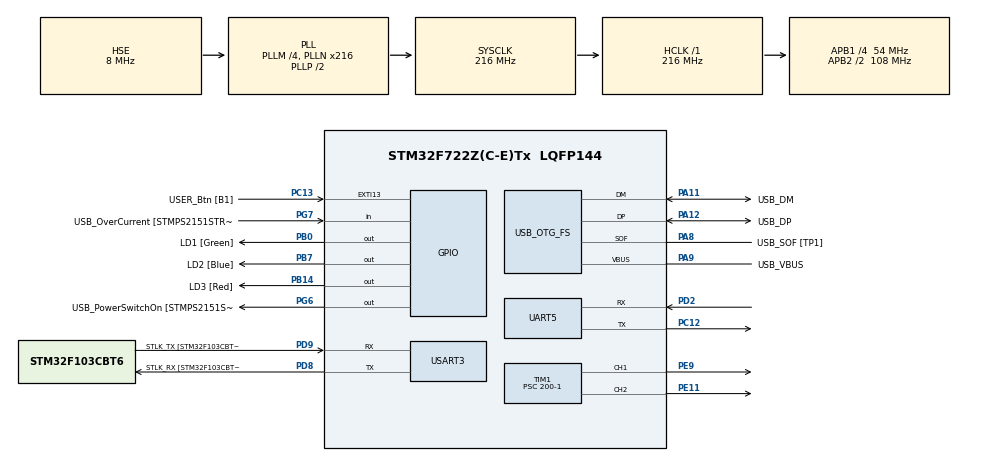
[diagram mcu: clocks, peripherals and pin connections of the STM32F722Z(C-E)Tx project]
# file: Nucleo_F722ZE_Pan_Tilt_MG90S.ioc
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CORTEX_M7.CPU_DCache=Enabled
CORTEX_M7.CPU_ICache=Enabled
Dma.Request0=TIM1_CH1
Dma.Request1=TIM1_CH2
Dma.Request2=UART5_TX
Dma.TIM1_CH1.0.Direction=DMA_PERIPH_TO_MEMORY
Dma.TIM1_CH1.0.FIFOMode=DMA_FIFOMODE_DISABLE
Dma.TIM1_CH1.0.Instance=DMA2_Stream1
Dma.TIM1_CH1.0.MemDataAlignment=DMA_MDATAALIGN_HALFWORD
Dma.TIM1_CH1.0.MemInc=DMA_MINC_ENABLE
Dma.TIM1_CH1.0.Mode=DMA_NORMAL
Dma.TIM1_CH1.0.PeriphDataAlignment=DMA_PDATAALIGN_HALFWORD
Dma.TIM1_CH1.0.PeriphInc=DMA_PINC_DISABLE
Dma.TIM1_CH1.0.Priority=DMA_PRIORITY_LOW
Dma.TIM1_CH2.1.Direction=DMA_PERIPH_TO_MEMORY
Dma.TIM1_CH2.1.FIFOMode=DMA_FIFOMODE_DISABLE
Dma.TIM1_CH2.1.Instance=DMA2_Stream2
Dma.TIM1_CH2.1.MemDataAlignment=DMA_MDATAALIGN_HALFWORD
Dma.TIM1_CH2.1.MemInc=DMA_MINC_ENABLE
Dma.TIM1_CH2.1.Mode=DMA_NORMAL
Dma.TIM1_CH2.1.PeriphDataAlignment=DMA_PDATAALIGN_HALFWORD
Dma.TIM1_CH2.1.PeriphInc=DMA_PINC_DISABLE
Dma.TIM1_CH2.1.Priority=DMA_PRIORITY_LOW
Dma.UART5_TX.2.Direction=DMA_MEMORY_TO_PERIPH
Dma.UART5_TX.2.FIFOMode=DMA_FIFOMODE_DISABLE
Dma.UART5_TX.2.Instance=DMA1_Stream7
Dma.UART5_TX.2.MemDataAlignment=DMA_MDATAALIGN_BYTE
Dma.UART5_TX.2.MemInc=DMA_MINC_ENABLE
Dma.UART5_TX.2.Mode=DMA_NORMAL
Dma.UART5_TX.2.PeriphDataAlignment=DMA_PDATAALIGN_BYTE
Dma.UART5_TX.2.PeriphInc=DMA_PINC_DISABLE
Dma.UART5_TX.2.Priority=DMA_PRIORITY_LOW
Mcu.Family=STM32F7
Mcu.Name=STM32F722Z(C-E)Tx
Mcu.Package=LQFP144
NVIC.DMA1_Stream7_IRQn=true\:0\:0\:false\:false\:true\:false\:true\:true
NVIC.DMA2_Stream1_IRQn=true\:0\:0\:false\:false\:true\:false\:true\:true
NVIC.DMA2_Stream2_IRQn=true\:0\:0\:false\:false\:true\:false\:true\:true
NVIC.PriorityGroup=NVIC_PRIORITYGROUP_4
NVIC.TIM6_DAC_IRQn=true\:0\:0\:false\:false\:true\:true\:true\:true
NVIC.UART5_IRQn=true\:0\:0\:false\:false\:true\:true\:true\:true
PA10.GPIO_Label=USB_ID
PA10.Signal=USB_OTG_FS_ID
PA11.GPIO_Label=USB_DM
PA11.Mode=Device_Only
PA11.Signal=USB_OTG_FS_DM
PA12.GPIO_Label=USB_DP
PA12.Mode=Device_Only
PA12.Signal=USB_OTG_FS_DP
PA13.GPIO_Label=TMS
PA13.Mode=Serial_Wire
PA13.Signal=SYS_JTMS-SWDIO
PA14.GPIO_Label=TCK
PA14.Mode=Serial_Wire
PA14.Signal=SYS_JTCK-SWCLK
PA8.GPIO_Label=USB_SOF [TP1]
PA8.Mode=Activate_SOF_FS
PA8.Signal=USB_OTG_FS_SOF
PA9.GPIO_Label=USB_VBUS
PA9.Mode=Activate_VBUS
PA9.Signal=USB_OTG_FS_VBUS
PB0.GPIO_Label=LD1 [Green]
PB0.Signal=GPIO_Output
PB14.GPIO_Label=LD3 [Red]
PB14.Signal=GPIO_Output
PB3.GPIO_Label=SWO
PB3.Signal=SYS_JTDO-SWO
PB7.GPIO_Label=LD2 [Blue]
PB7.Signal=GPIO_Output
PC12.Mode=Asynchronous
PC12.Signal=UART5_TX
PC13.GPIO_Label=USER_Btn [B1]
PC13.Signal=GPXTI13
PC14-OSC32_IN.Mode=LSE-External-Oscillator
PC14-OSC32_IN.Signal=RCC_OSC32_IN
PC15-OSC32_OUT.Mode=LSE-External-Oscillator
PC15-OSC32_OUT.Signal=RCC_OSC32_OUT
PD2.Mode=Asynchronous
PD2.Signal=UART5_RX
PD8.GPIO_Label=STLK_RX [STM32F103CBT6_PA3]
PD8.Mode=Asynchronous
PD8.Signal=USART3_TX
PD9.GPIO_Label=STLK_TX [STM32F103CBT6_PA2]
PD9.Mode=Asynchronous
PD9.Signal=USART3_RX
PE11.Signal=S_TIM1_CH2
PE9.Signal=S_TIM1_CH1
PG6.GPIO_Label=USB_PowerSwitchOn [STMPS2151STR_EN]
PG6.Signal=GPIO_Output
PG7.GPIO_Label=USB_OverCurrent [STMPS2151STR_FAULT]
PG7.Signal=GPIO_Input
PH0-OSC_IN.GPIO_Label=MCO
PH0-OSC_IN.Mode=HSE-External-Oscillator
PH0-OSC_IN.Signal=RCC_OSC_IN
PH1-OSC_OUT.Mode=HSE-External-Oscillator
PH1-OSC_OUT.Signal=RCC_OSC_OUT
ProjectManager.HeapSize=0x200
ProjectManager.StackSize=0x400
ProjectManager.TargetToolchain=STM32CubeIDE
RCC.48MHZClocksFreq_Value=24000000
RCC.AHBFreq_Value=216000000
RCC.APB1CLKDivider=RCC_HCLK_DIV4
RCC.APB1Freq_Value=54000000
RCC.APB1TimFreq_Value=108000000
RCC.APB2CLKDivider=RCC_HCLK_DIV2
RCC.APB2Freq_Value=108000000
RCC.APB2TimFreq_Value=216000000
RCC.CortexFreq_Value=216000000
RCC.HCLKFreq_Value=216000000
RCC.HSE_VALUE=8000000
RCC.HSI_VALUE=16000000
RCC.PLLM=4
RCC.PLLMUL=RCC_PLL_MUL9
RCC.PLLN=216
RCC.PLLQ=9
RCC.PRESCALERUSB=RCC_USBCLKSOURCE_PLL_DIV1_5
RCC.SYSCLKFreq_VALUE=216000000
RCC.SYSCLKSource=RCC_SYSCLKSOURCE_PLLCLK
RCC.SYSCLKSourceVirtual=RCC_SYSCLKSOURCE_PLLCLK
RCC.USBFreq_Value=48000000
RCC.VCOOutputFreq_Value=432000000
SH.S_TIM1_CH1.0=TIM1_CH1,PWM Generation1 CH1
SH.S_TIM1_CH2.0=TIM1_CH2,PWM Generation2 CH2
TIM1.Channel-PWM\ Generation1\ CH1=TIM_CHANNEL_1
TIM1.Channel-PWM\ Generation2\ CH2=TIM_CHANNEL_2
TIM1.Period=21600-1
TIM1.Prescaler=200-1
TIM6.Period=100-1
TIM6.Prescaler=10800-1
USART3.VirtualMode-Asynchronous=VM_ASYNC
USB_OTG_FS.VirtualMode=Device_Only
VP_TIM1_VS_ClockSourceINT.Mode=Internal
VP_TIM6_VS_ClockSourceINT.Mode=Enable_Timer
board=NUCLEO-F722ZE

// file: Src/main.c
/* USER CODE BEGIN Header */
/**
  ******************************************************************************
  * @file           : main.c
  * @brief          : Main program body
  ******************************************************************************
  * @attention
  *
  * Copyright (c) 2024 STMicroelectronics.
  * All rights reserved.
  *
  * This software is licensed under terms that can be found in the LICENSE file
  * in the root directory of this software component.
  * If no LICENSE file comes with this software, it is provided AS-IS.
  *
  ******************************************************************************
  */
/* USER CODE END Header */
#include "main.h"

TIM_HandleTypeDef htim1;
TIM_HandleTypeDef htim6;
DMA_HandleTypeDef hdma_tim1_ch1;
DMA_HandleTypeDef hdma_tim1_ch2;

UART_HandleTypeDef huart5;
UART_HandleTypeDef huart3;
DMA_HandleTypeDef hdma_uart5_tx;

PCD_HandleTypeDef hpcd_USB_OTG_FS;

void SystemClock_Config(void);
static void MX_GPIO_Init(void);
static void MX_DMA_Init(void);
static void MX_USB_OTG_FS_PCD_Init(void);
static void MX_TIM1_Init(void);
static void MX_TIM6_Init(void);
static void MX_USART3_UART_Init(void);
static void MX_UART5_Init(void);

/* USER CODE BEGIN 0 */
uint8_t counter_tim = 0;
uint8_t index_pos_pan = 0, index_pos_tilt = 0;

HAL_StatusTypeDef feedback = HAL_ERROR;

servo_t servo_pan, servo_tilt;

char message_pos_pan_tilt[40] = "\0";

uint32_t log_uart_nbr_bytes_to_be_clean = 0;
/* USER CODE END 0 */

int main(void)
{
/* Enable the CPU Cache */

  /* Enable I-Cache---------------------------------------------------------*/
 SCB_EnableICache();

  /* Enable D-Cache---------------------------------------------------------*/
  SCB_EnableDCache();

  /* MCU Configuration--------------------------------------------------------*/

  /* Reset of all peripherals, Initializes the Flash interface and the Systick. */
  HAL_Init();

  /* Configure the system clock */
  SystemClock_Config();

  /* Initialize all configured peripherals */
  MX_GPIO_Init();
  MX_DMA_Init();
  MX_USB_OTG_FS_PCD_Init();
  MX_TIM1_Init();
  MX_TIM6_Init();
  MX_USART3_UART_Init();
  MX_UART5_Init();
  /* USER CODE BEGIN 2 */
  servo_init(&servo_pan, &servo_tilt, &htim1, &htim1);//start timers MUST BE SET FIRST

  char message[20] = "\0";
  sprintf(message, "Init pan tilt\r\n\r");
  add_log(message, sizeof(message)/sizeof(char));

  feedback = HAL_TIM_Base_Start_IT(&htim6);//timer 10Hz
  if(feedback != HAL_OK)
	  Error_Handler();

  HAL_Delay(2000);

  /* USER CODE END 2 */

  /* Infinite loop */
  while (1)
  {
	  for(int i=0; i<(sizeof(pos_tilt)/sizeof(int)); i++){
	      servo_go_to_angle(&servo_tilt, pos_tilt[i]);
	      index_pos_tilt = i;

	      for(int j=0; j<(sizeof(pos_pan)/sizeof(int)); j++){
	        servo_go_to_angle(&servo_pan, pos_pan[j]);
	        index_pos_pan = j;

	        memset(message_pos_pan_tilt, '\0', sizeof(message_pos_pan_tilt));
	        sprintf(message_pos_pan_tilt, "pos TILT : %4d,pos PAN : %4d\r\n", pos_tilt[index_pos_tilt], pos_pan[index_pos_pan]);
	        printf(message_pos_pan_tilt);
	        add_log(message_pos_pan_tilt, sizeof(message_pos_pan_tilt)/sizeof(char));

	        HAL_Delay(500);
	      }
	    }
  }
}

void SystemClock_Config(void)
{
  RCC_OscInitTypeDef RCC_OscInitStruct = {0};
  RCC_ClkInitTypeDef RCC_ClkInitStruct = {0};

  /** Configure LSE Drive Capability
  */
  HAL_PWR_EnableBkUpAccess();

  /** Configure the main internal regulator output voltage
  */
  __HAL_RCC_PWR_CLK_ENABLE();
  __HAL_PWR_VOLTAGESCALING_CONFIG(PWR_REGULATOR_VOLTAGE_SCALE1);

  /** Initializes the RCC Oscillators according to the specified parameters
  * in the RCC_OscInitTypeDef structure.
  */
  RCC_OscInitStruct.OscillatorType = RCC_OSCILLATORTYPE_HSE;
  RCC_OscInitStruct.HSEState = RCC_HSE_ON;
  RCC_OscInitStruct.PLL.PLLState = RCC_PLL_ON;
  RCC_OscInitStruct.PLL.PLLSource = RCC_PLLSOURCE_HSE;
  RCC_OscInitStruct.PLL.PLLM = 4;
  RCC_OscInitStruct.PLL.PLLN = 216;
  RCC_OscInitStruct.PLL.PLLP = RCC_PLLP_DIV2;
  RCC_OscInitStruct.PLL.PLLQ = 9;
  if (HAL_RCC_OscConfig(&RCC_OscInitStruct) != HAL_OK)
  {
    Error_Handler();
  }

  /** Activate the Over-Drive mode
  */
  if (HAL_PWREx_EnableOverDrive() != HAL_OK)
  {
    Error_Handler();
  }

  /** Initializes the CPU, AHB and APB buses clocks
  */
  RCC_ClkInitStruct.ClockType = RCC_CLOCKTYPE_HCLK|RCC_CLOCKTYPE_SYSCLK
                              |RCC_CLOCKTYPE_PCLK1|RCC_CLOCKTYPE_PCLK2;
  RCC_ClkInitStruct.SYSCLKSource = RCC_SYSCLKSOURCE_PLLCLK;
  RCC_ClkInitStruct.AHBCLKDivider = RCC_SYSCLK_DIV1;
  RCC_ClkInitStruct.APB1CLKDivider = RCC_HCLK_DIV4;
  RCC_ClkInitStruct.APB2CLKDivider = RCC_HCLK_DIV2;

  if (HAL_RCC_ClockConfig(&RCC_ClkInitStruct, FLASH_LATENCY_7) != HAL_OK)
  {
    Error_Handler();
  }
}

static void MX_TIM1_Init(void)
{

  TIM_ClockConfigTypeDef sClockSourceConfig = {0};
  TIM_MasterConfigTypeDef sMasterConfig = {0};
  TIM_OC_InitTypeDef sConfigOC = {0};
  TIM_BreakDeadTimeConfigTypeDef sBreakDeadTimeConfig = {0};

  htim1.Instance = TIM1;
  htim1.Init.Prescaler = 200-1;
  htim1.Init.CounterMode = TIM_COUNTERMODE_UP;
  htim1.Init.Period = 21600-1;
  htim1.Init.ClockDivision = TIM_CLOCKDIVISION_DIV1;
  htim1.Init.RepetitionCounter = 0;
  htim1.Init.AutoReloadPreload = TIM_AUTORELOAD_PRELOAD_DISABLE;
  if (HAL_TIM_Base_Init(&htim1) != HAL_OK)
  {
    Error_Handler();
  }
  sClockSourceConfig.ClockSource = TIM_CLOCKSOURCE_INTERNAL;
  if (HAL_TIM_ConfigClockSource(&htim1, &sClockSourceConfig) != HAL_OK)
  {
    Error_Handler();
  }
  if (HAL_TIM_PWM_Init(&htim1) != HAL_OK)
  {
    Error_Handler();
  }
  sMasterConfig.MasterOutputTrigger = TIM_TRGO_RESET;
  sMasterConfig.MasterOutputTrigger2 = TIM_TRGO2_RESET;
  sMasterConfig.MasterSlaveMode = TIM_MASTERSLAVEMODE_DISABLE;
  if (HAL_TIMEx_MasterConfigSynchronization(&htim1, &sMasterConfig) != HAL_OK)
  {
    Error_Handler();
  }
  sConfigOC.OCMode = TIM_OCMODE_PWM1;
  sConfigOC.Pulse = 0;
  sConfigOC.OCPolarity = TIM_OCPOLARITY_HIGH;
  sConfigOC.OCNPolarity = TIM_OCNPOLARITY_HIGH;
  sConfigOC.OCFastMode = TIM_OCFAST_DISABLE;
  sConfigOC.OCIdleState = TIM_OCIDLESTATE_RESET;
  sConfigOC.OCNIdleState = TIM_OCNIDLESTATE_RESET;
  if (HAL_TIM_PWM_ConfigChannel(&htim1, &sConfigOC, TIM_CHANNEL_1) != HAL_OK)
  {
    Error_Handler();
  }
  if (HAL_TIM_PWM_ConfigChannel(&htim1, &sConfigOC, TIM_CHANNEL_2) != HAL_OK)
  {
    Error_Handler();
  }
  sBreakDeadTimeConfig.OffStateRunMode = TIM_OSSR_DISABLE;
  sBreakDeadTimeConfig.OffStateIDLEMode = TIM_OSSI_DISABLE;
  sBreakDeadTimeConfig.LockLevel = TIM_LOCKLEVEL_OFF;
  sBreakDeadTimeConfig.DeadTime = 0;
  sBreakDeadTimeConfig.BreakState = TIM_BREAK_DISABLE;
  sBreakDeadTimeConfig.BreakPolarity = TIM_BREAKPOLARITY_HIGH;
  sBreakDeadTimeConfig.BreakFilter = 0;
  sBreakDeadTimeConfig.Break2State = TIM_BREAK2_DISABLE;
  sBreakDeadTimeConfig.Break2Polarity = TIM_BREAK2POLARITY_HIGH;
  sBreakDeadTimeConfig.Break2Filter = 0;
  sBreakDeadTimeConfig.AutomaticOutput = TIM_AUTOMATICOUTPUT_DISABLE;
  if (HAL_TIMEx_ConfigBreakDeadTime(&htim1, &sBreakDeadTimeConfig) != HAL_OK)
  {
    Error_Handler();
  }
  HAL_TIM_MspPostInit(&htim1);

}

static void MX_TIM6_Init(void)
{

  TIM_MasterConfigTypeDef sMasterConfig = {0};

  htim6.Instance = TIM6;
  htim6.Init.Prescaler = 10800-1;
  htim6.Init.CounterMode = TIM_COUNTERMODE_UP;
  htim6.Init.Period = 100-1;
  htim6.Init.AutoReloadPreload = TIM_AUTORELOAD_PRELOAD_DISABLE;
  if (HAL_TIM_Base_Init(&htim6) != HAL_OK)
  {
    Error_Handler();
  }
  sMasterConfig.MasterOutputTrigger = TIM_TRGO_RESET;
  sMasterConfig.MasterSlaveMode = TIM_MASTERSLAVEMODE_DISABLE;
  if (HAL_TIMEx_MasterConfigSynchronization(&htim6, &sMasterConfig) != HAL_OK)
  {
    Error_Handler();
  }

}

static void MX_UART5_Init(void)
{

  huart5.Instance = UART5;
  huart5.Init.BaudRate = 115200;
  huart5.Init.WordLength = UART_WORDLENGTH_8B;
  huart5.Init.StopBits = UART_STOPBITS_1;
  huart5.Init.Parity = UART_PARITY_NONE;
  huart5.Init.Mode = UART_MODE_TX_RX;
  huart5.Init.HwFlowCtl = UART_HWCONTROL_NONE;
  huart5.Init.OverSampling = UART_OVERSAMPLING_16;
  huart5.Init.OneBitSampling = UART_ONE_BIT_SAMPLE_DISABLE;
  huart5.AdvancedInit.AdvFeatureInit = UART_ADVFEATURE_NO_INIT;
  if (HAL_UART_Init(&huart5) != HAL_OK)
  {
    Error_Handler();
  }

}

static void MX_USART3_UART_Init(void)
{

  huart3.Instance = USART3;
  huart3.Init.BaudRate = 115200;
  huart3.Init.WordLength = UART_WORDLENGTH_8B;
  huart3.Init.StopBits = UART_STOPBITS_1;
  huart3.Init.Parity = UART_PARITY_NONE;
  huart3.Init.Mode = UART_MODE_TX_RX;
  huart3.Init.HwFlowCtl = UART_HWCONTROL_NONE;
  huart3.Init.OverSampling = UART_OVERSAMPLING_16;
  huart3.Init.OneBitSampling = UART_ONE_BIT_SAMPLE_DISABLE;
  huart3.AdvancedInit.AdvFeatureInit = UART_ADVFEATURE_NO_INIT;
  if (HAL_UART_Init(&huart3) != HAL_OK)
  {
    Error_Handler();
  }

}

static void MX_USB_OTG_FS_PCD_Init(void)
{

  hpcd_USB_OTG_FS.Instance = USB_OTG_FS;
  hpcd_USB_OTG_FS.Init.dev_endpoints = 6;
  hpcd_USB_OTG_FS.Init.speed = PCD_SPEED_FULL;
  hpcd_USB_OTG_FS.Init.dma_enable = DISABLE;
  hpcd_USB_OTG_FS.Init.phy_itface = PCD_PHY_EMBEDDED;
  hpcd_USB_OTG_FS.Init.Sof_enable = ENABLE;
  hpcd_USB_OTG_FS.Init.low_power_enable = DISABLE;
  hpcd_USB_OTG_FS.Init.lpm_enable = DISABLE;
  hpcd_USB_OTG_FS.Init.battery_charging_enable = ENABLE;
  hpcd_USB_OTG_FS.Init.vbus_sensing_enable = ENABLE;
  hpcd_USB_OTG_FS.Init.use_dedicated_ep1 = DISABLE;
  if (HAL_PCD_Init(&hpcd_USB_OTG_FS) != HAL_OK)
  {
    Error_Handler();
  }

}

static void MX_DMA_Init(void)
{

  /* DMA controller clock enable */
  __HAL_RCC_DMA2_CLK_ENABLE();
  __HAL_RCC_DMA1_CLK_ENABLE();

  /* DMA interrupt init */
  /* DMA1_Stream7_IRQn interrupt configuration */
  HAL_NVIC_SetPriority(DMA1_Stream7_IRQn, 0, 0);
  HAL_NVIC_EnableIRQ(DMA1_Stream7_IRQn);
  /* DMA2_Stream1_IRQn interrupt configuration */
  HAL_NVIC_SetPriority(DMA2_Stream1_IRQn, 0, 0);
  HAL_NVIC_EnableIRQ(DMA2_Stream1_IRQn);
  /* DMA2_Stream2_IRQn interrupt configuration */
  HAL_NVIC_SetPriority(DMA2_Stream2_IRQn, 0, 0);
  HAL_NVIC_EnableIRQ(DMA2_Stream2_IRQn);

}

static void MX_GPIO_Init(void)
{
  GPIO_InitTypeDef GPIO_InitStruct = {0};

  /* GPIO Ports Clock Enable */
  __HAL_RCC_GPIOC_CLK_ENABLE();
  __HAL_RCC_GPIOH_CLK_ENABLE();
  __HAL_RCC_GPIOB_CLK_ENABLE();
  __HAL_RCC_GPIOE_CLK_ENABLE();
  __HAL_RCC_GPIOD_CLK_ENABLE();
  __HAL_RCC_GPIOG_CLK_ENABLE();
  __HAL_RCC_GPIOA_CLK_ENABLE();

  /*Configure GPIO pin Output Level */
  HAL_GPIO_WritePin(GPIOB, LD1_Pin|LD3_Pin|LD2_Pin, GPIO_PIN_RESET);

  /*Configure GPIO pin Output Level */
  HAL_GPIO_WritePin(USB_PowerSwitchOn_GPIO_Port, USB_PowerSwitchOn_Pin, GPIO_PIN_RESET);

  /*Configure GPIO pin : USER_Btn_Pin */
  GPIO_InitStruct.Pin = USER_Btn_Pin;
  GPIO_InitStruct.Mode = GPIO_MODE_IT_RISING;
  GPIO_InitStruct.Pull = GPIO_NOPULL;
  HAL_GPIO_Init(USER_Btn_GPIO_Port, &GPIO_InitStruct);

  /*Configure GPIO pins : LD1_Pin LD3_Pin LD2_Pin */
  GPIO_InitStruct.Pin = LD1_Pin|LD3_Pin|LD2_Pin;
  GPIO_InitStruct.Mode = GPIO_MODE_OUTPUT_PP;
  GPIO_InitStruct.Pull = GPIO_NOPULL;
  GPIO_InitStruct.Speed = GPIO_SPEED_FREQ_LOW;
  HAL_GPIO_Init(GPIOB, &GPIO_InitStruct);

  /*Configure GPIO pin : USB_PowerSwitchOn_Pin */
  GPIO_InitStruct.Pin = USB_PowerSwitchOn_Pin;
  GPIO_InitStruct.Mode = GPIO_MODE_OUTPUT_PP;
  GPIO_InitStruct.Pull = GPIO_NOPULL;
  GPIO_InitStruct.Speed = GPIO_SPEED_FREQ_LOW;
  HAL_GPIO_Init(USB_PowerSwitchOn_GPIO_Port, &GPIO_InitStruct);

  /*Configure GPIO pin : USB_OverCurrent_Pin */
  GPIO_InitStruct.Pin = USB_OverCurrent_Pin;
  GPIO_InitStruct.Mode = GPIO_MODE_INPUT;
  GPIO_InitStruct.Pull = GPIO_NOPULL;
  HAL_GPIO_Init(USB_OverCurrent_GPIO_Port, &GPIO_InitStruct);

}

/* USER CODE BEGIN 4 */
int __io_putchar(int ch){
    ITM_SendChar(ch);
    return ch;
}

void HAL_TIM_PeriodElapsedCallback(TIM_HandleTypeDef *htim){

	if(htim->Instance == htim6.Instance){//10Hz

		if(counter_tim % 10 == 0){
			HAL_GPIO_TogglePin(LD3_GPIO_Port, LD3_Pin);//1Hz activity LED
		}

//		if(counter_tim % 50 == 0){//every 5sec -> 0.2Hz
//			if(index_pos_tilt < (sizeof(pos_tilt)/sizeof(int))){
//
//				if(index_pos_pan >= (sizeof(pos_pan)/sizeof(int))){
//					index_pos_tilt++;
//					servo_go_to_angle(&servo_tilt, pos_tilt[index_pos_tilt]);
//					index_pos_pan = 0;
//				}
//				servo_go_to_angle(&servo_pan, pos_pan[index_pos_pan]);
//
//				memset(message_pos_pan_tilt, '\0', sizeof(message_pos_pan_tilt));
//				sprintf(message_pos_pan_tilt, "pos TILT : %4d,pos PAN : %4d\r\n", pos_tilt[index_pos_tilt], pos_pan[index_pos_pan]);
//				printf(message_pos_pan_tilt);
//				add_log(message_pos_pan_tilt, sizeof(message_pos_pan_tilt)/sizeof(char));
//
//				index_pos_pan++;
//			}
//			else{
//				printf("FINISH\r\n");
//	//				HAL_UART_Transmit_DMA(&huart5, (uint8_t*)data_finish, sizeof(data_finish));
//			}
//		}

		if(log_uart_nbr_bytes > 0){
			if(sizeof(log_uart5) >= log_uart_nbr_bytes){
				/* Clean D-cache */
				/* Make sure the address is 32-byte aligned and add 32-bytes to length, in case it overlaps cac
					  heline */
				SCB_CleanDCache_by_Addr((uint32_t*)(((uint32_t)log_uart5) & ~(uint32_t)0x1F), log_uart_nbr_bytes+32);
				/* Start DMA transfer */
//				HAL_UART_Transmit(&huart5, (uint8_t*)log_uart5, log_uart_nbr_bytes, HAL_MAX_DELAY);
				feedback = HAL_UART_Transmit_DMA(&huart5, (uint8_t*)log_uart5, log_uart_nbr_bytes);
				if(feedback != HAL_OK)
					Error_Handler();
//				memset(log_uart5, '\0', log_uart_nbr_bytes);//raz
				log_uart_nbr_bytes_to_be_clean = log_uart_nbr_bytes;
				log_uart_nbr_bytes = 0;
			}
		}

		counter_tim++;
	}
}

void HAL_UART_TxCpltCallback(UART_HandleTypeDef *huart){

	if(huart->Instance == huart5.Instance){//uart5 log
//		HAL_GPIO_TogglePin(LD1_GPIO_Port, LD1_Pin);

		memset(log_uart5, '\0', log_uart_nbr_bytes_to_be_clean);//Set back to zero
		log_uart_nbr_bytes_to_be_clean = 0;
	}
}
/* USER CODE END 4 */

void Error_Handler(void)
{
  __disable_irq();
  while (1)
  {
  }
}
